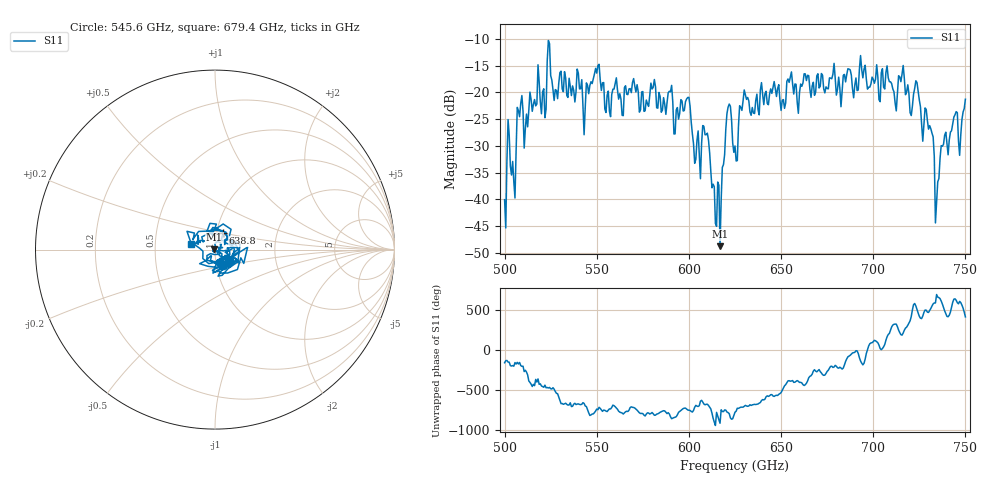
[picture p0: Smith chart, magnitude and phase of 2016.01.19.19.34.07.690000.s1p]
!Created with skrf (http://scikit-rf.org).
# GHz S RI R 50.0
!freq ReS11 ImS11
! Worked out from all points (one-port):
!   401 points, 500 GHz to 750 GHz, reference 50 ohm
!   lowest |S11| = -48.7 dB at 616.9 GHz (marker M1), VSWR 1.01, Z = 49.6 + j0.0877 ohm
!   |S11| at or under -10 dB: start of sweep to end of sweep
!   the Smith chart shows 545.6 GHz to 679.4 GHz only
!   S11 on the Smith chart (normalised r, x): 545.6 GHz: 1.07, -0.19; 638.8 GHz: 1.08, +0.20; 679.4 GHz: 0.77, +0.05
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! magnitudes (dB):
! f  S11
! 500 GHz  -40.1
! 502.5 GHz  -28.0
! 505 GHz  -36.7
! 508.1 GHz  -24.6
! 521.2 GHz  -19.3
! 524.4 GHz  -10.9
! 527.5 GHz  -19.5
! 531.2 GHz  -19.4
! 545.6 GHz  -20.3
! 562.5 GHz  -20.3
! 593.8 GHz  -22.9
! 599.4 GHz  -21.0
! 605 GHz  -27.2
! 608.8 GHz  -27.9
! 613.8 GHz  -37.6
! 616.9 GHz  -48.7
! 621.2 GHz  -22.8
! 625 GHz  -30.0
! 628.8 GHz  -23.4
! 638.8 GHz  -19.6
! 656.2 GHz  -18.4
! 679.4 GHz  -17.4
! 687.5 GHz  -15.8
! 718.8 GHz  -18.6
! 729.4 GHz  -25.2
! 735 GHz  -36.7
! 738.1 GHz  -29.7
! 750 GHz  -21.3
